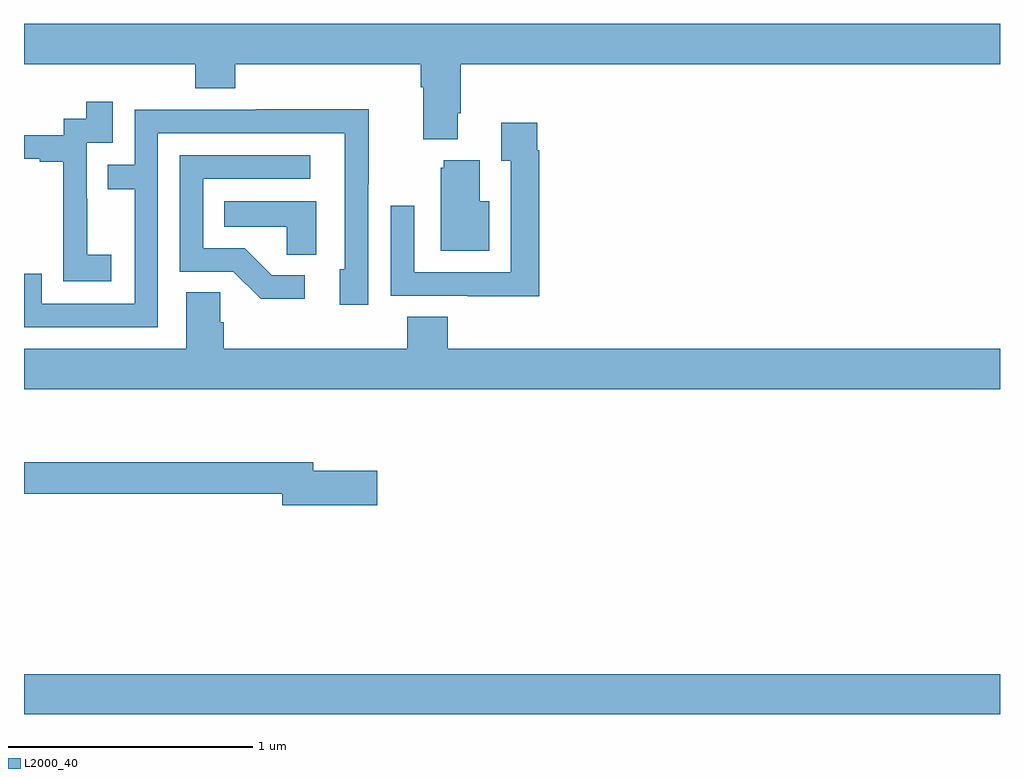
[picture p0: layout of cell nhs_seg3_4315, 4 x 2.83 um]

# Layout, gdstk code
import gdstk
lib = gdstk.Library(unit=1e-6, precision=1e-09)
def R(c, l, rs):  # rectangles x0, y0, x1, y1
    for r in rs: c.add(gdstk.rectangle(r[:2], r[2:], *l))
def P(c, l, *ps):  # polygons
    for p in ps: c.add(gdstk.Polygon(p, *l))
L2000_40 = (2000, 40)

nhs_seg3_4315 = lib.new_cell('nhs_seg3_4315')
R(nhs_seg3_4315, L2000_40, [(339,735.548,343,735.712)])
P(nhs_seg3_4315, L2000_40, [(340.777,738.01),(340.79,738.01),(340.79,738.212),(343,738.212),(343,738.376),(339,738.376),(339,738.212),(339.701,738.212),(339.701,738.113),(339.866,738.113),(339.866,738.212),(340.625,738.212),(340.625,738.116),(340.637,738.116),(340.637,737.903),(340.777,737.903)],
  [(339.358,737.431),(339.26,737.431),(339.26,737.66),(339.258,737.66),(339.258,737.889),(339.363,737.889),(339.363,738.058),(339.255,738.058),(339.255,737.988),(339.162,737.988),(339.162,737.919),(339,737.919),(339,737.823),(339.065,737.823),(339.065,737.811),(339.161,737.811),(339.161,737.527),(339.16,737.527),(339.16,737.321),(339.358,737.321)],
  [(339.549,737.928),(340.314,737.928),(340.314,737.37),(340.295,737.37),(340.295,737.226),(340.41,737.226),(340.41,737.719),(340.413,737.719),(340.413,738.026),(339.949,738.026),(339.949,738.024),(339.453,738.024),(339.453,737.799),(339.343,737.799),(339.343,737.698),(339.453,737.698),(339.453,737.229),(339.072,737.229),(339.072,737.352),(339,737.352),(339,737.133),(339.549,737.133)],
  [(341.111,737.858),(341.104,737.858),(341.104,737.971),(340.955,737.971),(340.955,737.815),(340.995,737.815),(340.995,737.358),(340.599,737.358),(340.599,737.632),(340.503,737.632),(340.503,737.262),(340.819,737.262),(340.819,737.261),(341.111,737.261)],
  [(340.15,737.346),(340.015,737.346),(339.904,737.457),(339.735,737.457),(339.735,737.742),(340.174,737.742),(340.174,737.838),(339.639,737.838),(339.639,737.361),(339.858,737.361),(339.971,737.249),(340.15,737.249)],
  [(340.906,737.65),(340.867,737.65),(340.867,737.818),(340.721,737.818),(340.721,737.787),(340.709,737.787),(340.709,737.447),(340.906,737.447)],
  [(340.198,737.65),(339.82,737.65),(339.82,737.546),(340.077,737.546),(340.077,737.431),(340.198,737.431)],
  [(343,737.044),(340.736,737.044),(340.736,737.177),(340.571,737.177),(340.571,737.044),(339.818,737.044),(339.818,737.153),(339.804,737.153),(339.804,737.276),(339.665,737.276),(339.665,737.044),(339,737.044),(339,736.88),(343,736.88)],
  [(340.447,736.545),(340.186,736.545),(340.186,736.579),(339,736.579),(339,736.45),(340.058,736.45),(340.058,736.403),(340.447,736.403)])

lib.write_gds('nhs_seg3_4315.gds')
